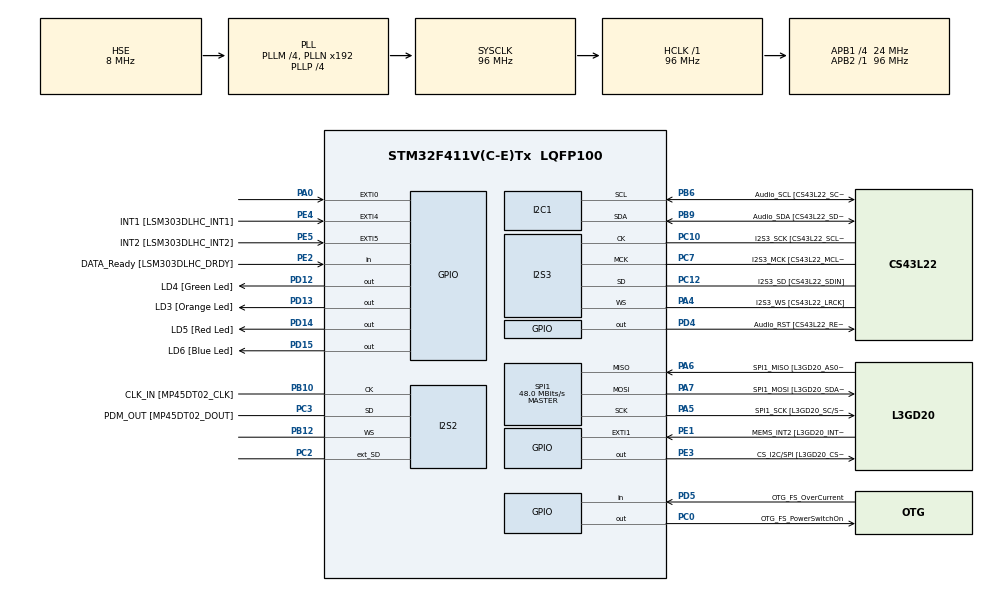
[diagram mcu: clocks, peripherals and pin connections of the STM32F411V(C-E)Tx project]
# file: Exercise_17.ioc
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FREERTOS.BinarySemaphores01=SingleSemaphore,Dynamic,NULL;Synch1Semaphore,Dynamic,NULL;Synch2Semaphore,Dynamic,NULL
FREERTOS.Tasks01=GreenTask,0,128,StartGreenTask,Default,NULL,Dynamic,NULL,NULL;RedTask,0,128,StartRedTask,Default,NULL,Dynamic,NULL,NULL;BlueTask,0,128,StartBlueTask,Default,NULL,Dynamic,NULL,NULL
I2S2.AudioFreq=I2S_AUDIOFREQ_96K
I2S2.ErrorAudioFreq=0.15 %
I2S2.FullDuplexMode=I2S_FULLDUPLEXMODE_ENABLE
I2S2.Instance=SPI$Index
I2S2.RealAudioFreq=96.153 KHz
I2S2.VirtualMode=I2S_MODE_MASTER
I2S3.AudioFreq=I2S_AUDIOFREQ_96K
I2S3.ErrorAudioFreq=-6.99 %
I2S3.FullDuplexMode=I2S_FULLDUPLEXMODE_DISABLE
I2S3.Instance=SPI$Index
I2S3.RealAudioFreq=89.285 KHz
I2S3.VirtualMode=I2S_MODE_MASTER
Mcu.Family=STM32F4
Mcu.Name=STM32F411V(C-E)Tx
Mcu.Package=LQFP100
NVIC.PriorityGroup=NVIC_PRIORITYGROUP_4
NVIC.TIM1_UP_TIM10_IRQn=true\:0\:0\:false\:false\:true\:false\:false\:true
NVIC.TimeBase=TIM1_UP_TIM10_IRQn
NVIC.TimeBaseIP=TIM1
PA0-WKUP.GPIO_ModeDefaultEXTI=GPIO_MODE_EVT_RISING
PA0-WKUP.Signal=GPXTI0
PA10.GPIO_Label=OTG_FS_ID
PA10.Signal=USB_OTG_FS_ID
PA11.GPIO_Label=OTG_FS_DM
PA11.Signal=USB_OTG_FS_DM
PA12.GPIO_Label=OTG_FS_DP
PA12.Signal=USB_OTG_FS_DP
PA13.GPIO_Label=SWDIO
PA13.Mode=Serial_Wire
PA13.Signal=SYS_JTMS-SWDIO
PA14.GPIO_Label=SWCLK
PA14.Mode=Serial_Wire
PA14.Signal=SYS_JTCK-SWCLK
PA4.GPIO_Label=I2S3_WS [CS43L22_LRCK]
PA4.GPIO_Mode=GPIO_MODE_AF_PP
PA4.GPIO_PuPd=GPIO_NOPULL
PA4.GPIO_Speed=GPIO_SPEED_FREQ_LOW
PA4.Mode=Half_Duplex_Master
PA4.Signal=I2S3_WS
PA5.GPIO_Label=SPI1_SCK [L3GD20_SC/SPC]
PA5.Mode=Full_Duplex_Master
PA5.Signal=SPI1_SCK
PA6.GPIO_Label=SPI1_MISO [L3GD20_AS0/SDO]
PA6.Mode=Full_Duplex_Master
PA6.Signal=SPI1_MISO
PA7.GPIO_Label=SPI1_MOSI [L3GD20_SDA/SDI/SDO]
PA7.Mode=Full_Duplex_Master
PA7.Signal=SPI1_MOSI
PA9.GPIO_Label=VBUS_FS
PA9.Signal=USB_OTG_FS_VBUS
PB10.GPIO_Label=CLK_IN [MP45DT02_CLK]
PB10.Mode=Full_Duplex_Master
PB10.Signal=I2S2_CK
PB12.Mode=Full_Duplex_Master
PB12.Signal=I2S2_WS
PB3.GPIO_Label=SWO
PB3.Signal=SYS_JTDO-SWO
PB6.GPIO_Label=Audio_SCL [CS43L22_SCL]
PB6.GPIO_Mode=GPIO_MODE_AF_OD
PB6.GPIO_PuPd=GPIO_NOPULL
PB6.GPIO_Speed=GPIO_SPEED_FREQ_LOW
PB6.Mode=I2C
PB6.Signal=I2C1_SCL
PB9.GPIO_Label=Audio_SDA [CS43L22_SDA]
PB9.GPIO_Mode=GPIO_MODE_AF_OD
PB9.GPIO_PuPd=GPIO_NOPULL
PB9.GPIO_Speed=GPIO_SPEED_FREQ_LOW
PB9.Mode=I2C
PB9.Signal=I2C1_SDA
PC0.GPIO_Label=OTG_FS_PowerSwitchOn
PC0.PinState=GPIO_PIN_SET
PC0.Signal=GPIO_Output
PC10.GPIO_Label=I2S3_SCK [CS43L22_SCLK]
PC10.GPIO_Mode=GPIO_MODE_AF_PP
PC10.GPIO_PuPd=GPIO_NOPULL
PC10.GPIO_Speed=GPIO_SPEED_FREQ_LOW
PC10.Mode=Half_Duplex_Master
PC10.Signal=I2S3_CK
PC12.GPIO_Label=I2S3_SD [CS43L22_SDIN]
PC12.GPIO_Mode=GPIO_MODE_AF_PP
PC12.GPIO_PuPd=GPIO_NOPULL
PC12.GPIO_Speed=GPIO_SPEED_FREQ_LOW
PC12.Mode=Half_Duplex_Master
PC12.Signal=I2S3_SD
PC14-OSC32_IN.GPIO_Label=PC14-OSC32_IN
PC14-OSC32_IN.Mode=LSE-External-Oscillator
PC14-OSC32_IN.Signal=RCC_OSC32_IN
PC15-OSC32_OUT.GPIO_Label=PC15-OSC32_OUT
PC15-OSC32_OUT.Mode=LSE-External-Oscillator
PC15-OSC32_OUT.Signal=RCC_OSC32_OUT
PC2.Mode=Full_Duplex_Master
PC2.Signal=I2S2_ext_SD
PC3.GPIO_Label=PDM_OUT [MP45DT02_DOUT]
PC3.Mode=Full_Duplex_Master
PC3.Signal=I2S2_SD
PC7.GPIO_Label=I2S3_MCK [CS43L22_MCLK]
PC7.GPIO_Mode=GPIO_MODE_AF_PP
PC7.GPIO_PuPd=GPIO_NOPULL
PC7.GPIO_Speed=GPIO_SPEED_FREQ_LOW
PC7.Mode=Master_Clock_Activated
PC7.Signal=I2S3_MCK
PD12.GPIO_Label=LD4 [Green Led]
PD12.GPIO_PuPd=GPIO_NOPULL
PD12.GPIO_Speed=GPIO_SPEED_FREQ_LOW
PD12.Signal=GPIO_Output
PD13.GPIO_Label=LD3 [Orange Led]
PD13.GPIO_PuPd=GPIO_NOPULL
PD13.GPIO_Speed=GPIO_SPEED_FREQ_LOW
PD13.Signal=GPIO_Output
PD14.GPIO_Label=LD5 [Red Led]
PD14.GPIO_PuPd=GPIO_NOPULL
PD14.GPIO_Speed=GPIO_SPEED_FREQ_LOW
PD14.Signal=GPIO_Output
PD15.GPIO_Label=LD6 [Blue Led]
PD15.GPIO_PuPd=GPIO_NOPULL
PD15.GPIO_Speed=GPIO_SPEED_FREQ_LOW
PD15.Signal=GPIO_Output
PD4.GPIO_Label=Audio_RST [CS43L22_RESET]
PD4.Signal=GPIO_Output
PD5.GPIO_Label=OTG_FS_OverCurrent
PD5.Signal=GPIO_Input
PE1.GPIO_Label=MEMS_INT2 [L3GD20_INT2]
PE1.GPIO_ModeDefaultEXTI=GPIO_MODE_EVT_RISING
PE1.Signal=GPXTI1
PE2.GPIO_Label=DATA_Ready [LSM303DLHC_DRDY]
PE2.Signal=GPIO_Input
PE3.GPIO_Label=CS_I2C/SPI [L3GD20_CS_I2C/SPI]
PE3.Signal=GPIO_Output
PE4.GPIO_Label=INT1 [LSM303DLHC_INT1]
PE4.GPIO_ModeDefaultEXTI=GPIO_MODE_EVT_RISING
PE4.Signal=GPXTI4
PE5.GPIO_Label=INT2 [LSM303DLHC_INT2]
PE5.GPIO_ModeDefaultEXTI=GPIO_MODE_EVT_RISING
PE5.Signal=GPXTI5
PH0\ -\ OSC_IN.GPIO_Label=PH0-OSC_IN
PH0\ -\ OSC_IN.Mode=HSE-External-Clock-Source
PH0\ -\ OSC_IN.Signal=RCC_OSC_IN
PH1\ -\ OSC_OUT.GPIO_Label=PH1-OSC_OUT
PH1\ -\ OSC_OUT.Mode=HSE-External-Clock-Source
PH1\ -\ OSC_OUT.Signal=RCC_OSC_OUT
ProjectManager.HeapSize=0x200
ProjectManager.StackSize=0x400
ProjectManager.TargetToolchain=STM32CubeIDE
RCC.48MHZClocksFreq_Value=48000000
RCC.AHBFreq_Value=96000000
RCC.APB1CLKDivider=RCC_HCLK_DIV4
RCC.APB1Freq_Value=24000000
RCC.APB1TimFreq_Value=48000000
RCC.APB2Freq_Value=96000000
RCC.APB2TimFreq_Value=96000000
RCC.CortexFreq_Value=96000000
RCC.HCLKFreq_Value=96000000
RCC.HSE_VALUE=8000000
RCC.HSI_VALUE=16000000
RCC.PLLI2SM=5
RCC.PLLI2SN=200
RCC.PLLM=4
RCC.PLLP=RCC_PLLP_DIV4
RCC.PLLQ=8
RCC.PLLSourceVirtual=RCC_PLLSOURCE_HSE
RCC.SYSCLKFreq_VALUE=96000000
RCC.SYSCLKSource=RCC_SYSCLKSOURCE_PLLCLK
RCC.VCOOutputFreq_Value=384000000
SPI1.BaudRatePrescaler=SPI_BAUDRATEPRESCALER_2
SPI1.CalculateBaudRate=48.0 MBits/s
SPI1.Direction=SPI_DIRECTION_2LINES
SPI1.Mode=SPI_MODE_MASTER
SPI1.VirtualType=VM_MASTER
VP_FREERTOS_VS_CMSIS_V1.Mode=CMSIS_V1
VP_SYS_VS_tim1.Mode=TIM1
board=STM32F411E-DISCO

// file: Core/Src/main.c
/* USER CODE BEGIN Header */
/**
  ******************************************************************************
  * @file           : main.c
  * @brief          : Main program body
  ******************************************************************************
  * @attention
  *
  * <h2><center>&copy; Copyright (c) 2023 STMicroelectronics.
  * All rights reserved.</center></h2>
  *
  * This software component is licensed by ST under Ultimate Liberty license
  * SLA0044, the "License"; You may not use this file except in compliance with
  * the License. You may obtain a copy of the License at:
  *                             www.st.com/SLA0044
  *
  ******************************************************************************
  */
/* USER CODE END Header */

#include "main.h"
#include "cmsis_os.h"

/* USER CODE BEGIN PD */
#define green GPIO_PIN_12
#define orange GPIO_PIN_13
#define red GPIO_PIN_14
#define blue GPIO_PIN_15
/* USER CODE END PD */

I2C_HandleTypeDef hi2c1;

I2S_HandleTypeDef hi2s2;
I2S_HandleTypeDef hi2s3;

SPI_HandleTypeDef hspi1;

osThreadId GreenTaskHandle;
osThreadId RedTaskHandle;
osThreadId BlueTaskHandle;
osSemaphoreId SingleSemaphoreHandle;
osSemaphoreId Synch1SemaphoreHandle;
osSemaphoreId Synch2SemaphoreHandle;
/* USER CODE BEGIN PV */
int TaskCount = 1;
/* USER CODE END PV */

void SystemClock_Config(void);
static void MX_GPIO_Init(void);
static void MX_I2C1_Init(void);
static void MX_I2S2_Init(void);
static void MX_I2S3_Init(void);
static void MX_SPI1_Init(void);
void StartGreenTask(void const * argument);
void StartRedTask(void const * argument);
void StartBlueTask(void const * argument);

int main(void)
{

  /* MCU Configuration--------------------------------------------------------*/

  /* Reset of all peripherals, Initializes the Flash interface and the Systick. */
  HAL_Init();

  /* Configure the system clock */
  SystemClock_Config();

  /* Initialize all configured peripherals */
  MX_GPIO_Init();
  MX_I2C1_Init();
  MX_I2S2_Init();
  MX_I2S3_Init();
  MX_SPI1_Init();

  /* Create the semaphores(s) */
  /* definition and creation of SingleSemaphore */
  osSemaphoreDef(SingleSemaphore);
  SingleSemaphoreHandle = osSemaphoreCreate(osSemaphore(SingleSemaphore), 1);

  /* definition and creation of Synch1Semaphore */
  osSemaphoreDef(Synch1Semaphore);
  Synch1SemaphoreHandle = osSemaphoreCreate(osSemaphore(Synch1Semaphore), 1);

  /* definition and creation of Synch2Semaphore */
  osSemaphoreDef(Synch2Semaphore);
  Synch2SemaphoreHandle = osSemaphoreCreate(osSemaphore(Synch2Semaphore), 1);

  /* USER CODE BEGIN RTOS_SEMAPHORES */
  osSemaphoreWait(SingleSemaphoreHandle,0);
  osSemaphoreWait(Synch1SemaphoreHandle,0);
  osSemaphoreWait(Synch2SemaphoreHandle,0);
  /* USER CODE END RTOS_SEMAPHORES */

  /* Create the thread(s) */
  /* definition and creation of GreenTask */
  osThreadDef(GreenTask, StartGreenTask, osPriorityNormal, 0, 128);
  GreenTaskHandle = osThreadCreate(osThread(GreenTask), NULL);

  /* definition and creation of RedTask */
  osThreadDef(RedTask, StartRedTask, osPriorityNormal, 0, 128);
  RedTaskHandle = osThreadCreate(osThread(RedTask), NULL);

  /* definition and creation of BlueTask */
  osThreadDef(BlueTask, StartBlueTask, osPriorityNormal, 0, 128);
  BlueTaskHandle = osThreadCreate(osThread(BlueTask), NULL);

  /* Start scheduler */
  osKernelStart();

  /* We should never get here as control is now taken by the scheduler */

  /* Infinite loop */
  while (1)
  {

  }
}

void SystemClock_Config(void)
{
  RCC_OscInitTypeDef RCC_OscInitStruct = {0};
  RCC_ClkInitTypeDef RCC_ClkInitStruct = {0};
  RCC_PeriphCLKInitTypeDef PeriphClkInitStruct = {0};

  /** Configure the main internal regulator output voltage
  */
  __HAL_RCC_PWR_CLK_ENABLE();
  __HAL_PWR_VOLTAGESCALING_CONFIG(PWR_REGULATOR_VOLTAGE_SCALE1);
  /** Initializes the CPU, AHB and APB busses clocks
  */
  RCC_OscInitStruct.OscillatorType = RCC_OSCILLATORTYPE_HSE;
  RCC_OscInitStruct.HSEState = RCC_HSE_BYPASS;
  RCC_OscInitStruct.PLL.PLLState = RCC_PLL_ON;
  RCC_OscInitStruct.PLL.PLLSource = RCC_PLLSOURCE_HSE;
  RCC_OscInitStruct.PLL.PLLM = 4;
  RCC_OscInitStruct.PLL.PLLN = 192;
  RCC_OscInitStruct.PLL.PLLP = RCC_PLLP_DIV4;
  RCC_OscInitStruct.PLL.PLLQ = 8;
  if (HAL_RCC_OscConfig(&RCC_OscInitStruct) != HAL_OK)
  {
    Error_Handler();
  }
  /** Initializes the CPU, AHB and APB busses clocks
  */
  RCC_ClkInitStruct.ClockType = RCC_CLOCKTYPE_HCLK|RCC_CLOCKTYPE_SYSCLK
                              |RCC_CLOCKTYPE_PCLK1|RCC_CLOCKTYPE_PCLK2;
  RCC_ClkInitStruct.SYSCLKSource = RCC_SYSCLKSOURCE_PLLCLK;
  RCC_ClkInitStruct.AHBCLKDivider = RCC_SYSCLK_DIV1;
  RCC_ClkInitStruct.APB1CLKDivider = RCC_HCLK_DIV4;
  RCC_ClkInitStruct.APB2CLKDivider = RCC_HCLK_DIV1;

  if (HAL_RCC_ClockConfig(&RCC_ClkInitStruct, FLASH_LATENCY_3) != HAL_OK)
  {
    Error_Handler();
  }
  PeriphClkInitStruct.PeriphClockSelection = RCC_PERIPHCLK_I2S;
  PeriphClkInitStruct.PLLI2S.PLLI2SN = 200;
  PeriphClkInitStruct.PLLI2S.PLLI2SM = 5;
  PeriphClkInitStruct.PLLI2S.PLLI2SR = 2;
  if (HAL_RCCEx_PeriphCLKConfig(&PeriphClkInitStruct) != HAL_OK)
  {
    Error_Handler();
  }
}

static void MX_I2C1_Init(void)
{

  hi2c1.Instance = I2C1;
  hi2c1.Init.ClockSpeed = 100000;
  hi2c1.Init.DutyCycle = I2C_DUTYCYCLE_2;
  hi2c1.Init.OwnAddress1 = 0;
  hi2c1.Init.AddressingMode = I2C_ADDRESSINGMODE_7BIT;
  hi2c1.Init.DualAddressMode = I2C_DUALADDRESS_DISABLE;
  hi2c1.Init.OwnAddress2 = 0;
  hi2c1.Init.GeneralCallMode = I2C_GENERALCALL_DISABLE;
  hi2c1.Init.NoStretchMode = I2C_NOSTRETCH_DISABLE;
  if (HAL_I2C_Init(&hi2c1) != HAL_OK)
  {
    Error_Handler();
  }

}

static void MX_I2S2_Init(void)
{

  hi2s2.Instance = SPI2;
  hi2s2.Init.Mode = I2S_MODE_MASTER_TX;
  hi2s2.Init.Standard = I2S_STANDARD_PHILIPS;
  hi2s2.Init.DataFormat = I2S_DATAFORMAT_16B;
  hi2s2.Init.MCLKOutput = I2S_MCLKOUTPUT_DISABLE;
  hi2s2.Init.AudioFreq = I2S_AUDIOFREQ_96K;
  hi2s2.Init.CPOL = I2S_CPOL_LOW;
  hi2s2.Init.ClockSource = I2S_CLOCK_PLL;
  hi2s2.Init.FullDuplexMode = I2S_FULLDUPLEXMODE_ENABLE;
  if (HAL_I2S_Init(&hi2s2) != HAL_OK)
  {
    Error_Handler();
  }

}

static void MX_I2S3_Init(void)
{

  hi2s3.Instance = SPI3;
  hi2s3.Init.Mode = I2S_MODE_MASTER_TX;
  hi2s3.Init.Standard = I2S_STANDARD_PHILIPS;
  hi2s3.Init.DataFormat = I2S_DATAFORMAT_16B;
  hi2s3.Init.MCLKOutput = I2S_MCLKOUTPUT_ENABLE;
  hi2s3.Init.AudioFreq = I2S_AUDIOFREQ_96K;
  hi2s3.Init.CPOL = I2S_CPOL_LOW;
  hi2s3.Init.ClockSource = I2S_CLOCK_PLL;
  hi2s3.Init.FullDuplexMode = I2S_FULLDUPLEXMODE_DISABLE;
  if (HAL_I2S_Init(&hi2s3) != HAL_OK)
  {
    Error_Handler();
  }

}

static void MX_SPI1_Init(void)
{

  /* SPI1 parameter configuration*/
  hspi1.Instance = SPI1;
  hspi1.Init.Mode = SPI_MODE_MASTER;
  hspi1.Init.Direction = SPI_DIRECTION_2LINES;
  hspi1.Init.DataSize = SPI_DATASIZE_8BIT;
  hspi1.Init.CLKPolarity = SPI_POLARITY_LOW;
  hspi1.Init.CLKPhase = SPI_PHASE_1EDGE;
  hspi1.Init.NSS = SPI_NSS_SOFT;
  hspi1.Init.BaudRatePrescaler = SPI_BAUDRATEPRESCALER_2;
  hspi1.Init.FirstBit = SPI_FIRSTBIT_MSB;
  hspi1.Init.TIMode = SPI_TIMODE_DISABLE;
  hspi1.Init.CRCCalculation = SPI_CRCCALCULATION_DISABLE;
  hspi1.Init.CRCPolynomial = 10;
  if (HAL_SPI_Init(&hspi1) != HAL_OK)
  {
    Error_Handler();
  }

}

static void MX_GPIO_Init(void)
{
  GPIO_InitTypeDef GPIO_InitStruct = {0};

  /* GPIO Ports Clock Enable */
  __HAL_RCC_GPIOE_CLK_ENABLE();
  __HAL_RCC_GPIOC_CLK_ENABLE();
  __HAL_RCC_GPIOH_CLK_ENABLE();
  __HAL_RCC_GPIOA_CLK_ENABLE();
  __HAL_RCC_GPIOB_CLK_ENABLE();
  __HAL_RCC_GPIOD_CLK_ENABLE();

  /*Configure GPIO pin Output Level */
  HAL_GPIO_WritePin(CS_I2C_SPI_GPIO_Port, CS_I2C_SPI_Pin, GPIO_PIN_RESET);

  /*Configure GPIO pin Output Level */
  HAL_GPIO_WritePin(OTG_FS_PowerSwitchOn_GPIO_Port, OTG_FS_PowerSwitchOn_Pin, GPIO_PIN_SET);

  /*Configure GPIO pin Output Level */
  HAL_GPIO_WritePin(GPIOD, LD4_Pin|LD3_Pin|LD5_Pin|LD6_Pin
                          |Audio_RST_Pin, GPIO_PIN_RESET);

  /*Configure GPIO pin : DATA_Ready_Pin */
  GPIO_InitStruct.Pin = DATA_Ready_Pin;
  GPIO_InitStruct.Mode = GPIO_MODE_INPUT;
  GPIO_InitStruct.Pull = GPIO_NOPULL;
  HAL_GPIO_Init(DATA_Ready_GPIO_Port, &GPIO_InitStruct);

  /*Configure GPIO pin : CS_I2C_SPI_Pin */
  GPIO_InitStruct.Pin = CS_I2C_SPI_Pin;
  GPIO_InitStruct.Mode = GPIO_MODE_OUTPUT_PP;
  GPIO_InitStruct.Pull = GPIO_NOPULL;
  GPIO_InitStruct.Speed = GPIO_SPEED_FREQ_LOW;
  HAL_GPIO_Init(CS_I2C_SPI_GPIO_Port, &GPIO_InitStruct);

  /*Configure GPIO pins : INT1_Pin INT2_Pin MEMS_INT2_Pin */
  GPIO_InitStruct.Pin = INT1_Pin|INT2_Pin|MEMS_INT2_Pin;
  GPIO_InitStruct.Mode = GPIO_MODE_EVT_RISING;
  GPIO_InitStruct.Pull = GPIO_NOPULL;
  HAL_GPIO_Init(GPIOE, &GPIO_InitStruct);

  /*Configure GPIO pin : OTG_FS_PowerSwitchOn_Pin */
  GPIO_InitStruct.Pin = OTG_FS_PowerSwitchOn_Pin;
  GPIO_InitStruct.Mode = GPIO_MODE_OUTPUT_PP;
  GPIO_InitStruct.Pull = GPIO_NOPULL;
  GPIO_InitStruct.Speed = GPIO_SPEED_FREQ_LOW;
  HAL_GPIO_Init(OTG_FS_PowerSwitchOn_GPIO_Port, &GPIO_InitStruct);

  /*Configure GPIO pin : PA0 */
  GPIO_InitStruct.Pin = GPIO_PIN_0;
  GPIO_InitStruct.Mode = GPIO_MODE_EVT_RISING;
  GPIO_InitStruct.Pull = GPIO_NOPULL;
  HAL_GPIO_Init(GPIOA, &GPIO_InitStruct);

  /*Configure GPIO pins : LD4_Pin LD3_Pin LD5_Pin LD6_Pin
                           Audio_RST_Pin */
  GPIO_InitStruct.Pin = LD4_Pin|LD3_Pin|LD5_Pin|LD6_Pin
                          |Audio_RST_Pin;
  GPIO_InitStruct.Mode = GPIO_MODE_OUTPUT_PP;
  GPIO_InitStruct.Pull = GPIO_NOPULL;
  GPIO_InitStruct.Speed = GPIO_SPEED_FREQ_LOW;
  HAL_GPIO_Init(GPIOD, &GPIO_InitStruct);

  /*Configure GPIO pin : VBUS_FS_Pin */
  GPIO_InitStruct.Pin = VBUS_FS_Pin;
  GPIO_InitStruct.Mode = GPIO_MODE_INPUT;
  GPIO_InitStruct.Pull = GPIO_NOPULL;
  HAL_GPIO_Init(VBUS_FS_GPIO_Port, &GPIO_InitStruct);

  /*Configure GPIO pins : OTG_FS_ID_Pin OTG_FS_DM_Pin OTG_FS_DP_Pin */
  GPIO_InitStruct.Pin = OTG_FS_ID_Pin|OTG_FS_DM_Pin|OTG_FS_DP_Pin;
  GPIO_InitStruct.Mode = GPIO_MODE_AF_PP;
  GPIO_InitStruct.Pull = GPIO_NOPULL;
  GPIO_InitStruct.Speed = GPIO_SPEED_FREQ_VERY_HIGH;
  GPIO_InitStruct.Alternate = GPIO_AF10_OTG_FS;
  HAL_GPIO_Init(GPIOA, &GPIO_InitStruct);

  /*Configure GPIO pin : OTG_FS_OverCurrent_Pin */
  GPIO_InitStruct.Pin = OTG_FS_OverCurrent_Pin;
  GPIO_InitStruct.Mode = GPIO_MODE_INPUT;
  GPIO_InitStruct.Pull = GPIO_NOPULL;
  HAL_GPIO_Init(OTG_FS_OverCurrent_GPIO_Port, &GPIO_InitStruct);

}

/* USER CODE BEGIN 4 */
void RendezvousBarrierS(const int N)
{
	if (TaskCount < N)
	{
		TaskCount++;
		osSemaphoreWait(SingleSemaphoreHandle, osWaitForever);
	}
	else if (TaskCount == N)
	{
		for (int i = 0; i < N; i++)
		{
			osSemaphoreRelease(SingleSemaphoreHandle);
			osDelay(10);
		}
	    TaskCount = 1;
	}
	else
		HAL_GPIO_WritePin(GPIOD, orange, GPIO_PIN_SET);
}

void RendezvousBarrierM()
{
	switch(TaskCount)
	{
		case 1: TaskCount++;
				osSemaphoreWait(Synch1SemaphoreHandle, osWaitForever);
				break;

		case 2: TaskCount++;
				osSemaphoreWait(Synch2SemaphoreHandle, osWaitForever);
				break;

		case 3: osSemaphoreRelease(Synch1SemaphoreHandle);
				osSemaphoreRelease(Synch2SemaphoreHandle);
				TaskCount = 1;
	}
}
/* USER CODE END 4 */

void StartGreenTask(void const * argument)
{
  /* USER CODE BEGIN 5 */
  /* Infinite loop */
  for(;;)
  {
	  for(int i = 0; i <= 120; i++) // Flash green led for 5 sec @ 10 Hz
	  	{
	  		HAL_GPIO_WritePin(GPIOD, green, GPIO_PIN_SET);
	  		osDelay(50);
	  		HAL_GPIO_WritePin(GPIOD, green, GPIO_PIN_RESET);
	  		osDelay(50);
	  	}

	  RendezvousBarrierS(3);
	  //RendezvousBarrierM;

	  for(int i = 0; i <= 20; i++) // Flash green led for 20 sec @ 1 Hz
	  	{
	  		HAL_GPIO_WritePin(GPIOD, green, GPIO_PIN_SET);
	  		osDelay(500);
	  		HAL_GPIO_WritePin(GPIOD, green, GPIO_PIN_RESET);
	  		osDelay(500);
	  	}

	  RendezvousBarrierS(3);
	  //RendezvousBarrierM;

	  for(int i = 0; i <= 40; i++) // Flash green led for 8 sec @ 5 Hz
		{
			HAL_GPIO_WritePin(GPIOD, green, GPIO_PIN_SET);
			osDelay(100);
			HAL_GPIO_WritePin(GPIOD, green, GPIO_PIN_RESET);
			osDelay(100);
		}

	  RendezvousBarrierS(3);
	  //RendezvousBarrierM;
   }
  /* USER CODE END 5 */
}

void StartRedTask(void const * argument)
{
  /* USER CODE BEGIN StartRedTask */
  /* Infinite loop */
  for(;;)
  {
	  for(int i = 0; i <= 200; i++) // Flash green led for 10 sec @ 10 Hz
	  	{
	  		HAL_GPIO_WritePin(GPIOD, red, GPIO_PIN_SET);
	  		osDelay(50);
	  		HAL_GPIO_WritePin(GPIOD, red, GPIO_PIN_RESET);
	  		osDelay(50);
	  	}

	  RendezvousBarrierS(3);
	  //RendezvousBarrierM;

	  for(int i = 0; i <= 8; i++) // Flash green led for 8 sec @ 1 Hz
	  	{
	  		HAL_GPIO_WritePin(GPIOD, red, GPIO_PIN_SET);
	  		osDelay(500);
	  		HAL_GPIO_WritePin(GPIOD, red, GPIO_PIN_RESET);
	  		osDelay(500);
	  	}

	  RendezvousBarrierS(3);
	  //RendezvousBarrierM;

	  for(int i = 0; i <= 100; i++) // Flash green led for 8 sec @ 5 Hz
		{
			HAL_GPIO_WritePin(GPIOD, red, GPIO_PIN_SET);
			osDelay(100);
			HAL_GPIO_WritePin(GPIOD, red, GPIO_PIN_RESET);
			osDelay(100);
		}

	  RendezvousBarrierS(3);
	  //RendezvousBarrierM;
  }
  /* USER CODE END StartRedTask */
}

void StartBlueTask(void const * argument)
{
  /* USER CODE BEGIN StartBlueTask */
  /* Infinite loop */
  for(;;)
  {
	  for(int i = 0; i <= 80; i++) // Flash green led for 8 sec @ 10 Hz
	  	{
	  		HAL_GPIO_WritePin(GPIOD, blue, GPIO_PIN_SET);
	  		osDelay(50);
	  		HAL_GPIO_WritePin(GPIOD, blue, GPIO_PIN_RESET);
	  		osDelay(50);
	  	}

	  RendezvousBarrierS(3);
	  //RendezvousBarrierM;

	  for(int i = 0; i <= 12; i++) // Flash green led for 12 sec @ 1 Hz
	  	{
	  		HAL_GPIO_WritePin(GPIOD, blue, GPIO_PIN_SET);
	  		osDelay(500);
	  		HAL_GPIO_WritePin(GPIOD, blue, GPIO_PIN_RESET);
	  		osDelay(500);
	  	}

	  RendezvousBarrierS(3);
	  //RendezvousBarrierM;

	  for(int i = 0; i <= 60; i++) // Flash green led for 12 sec @ 5 Hz
		{
			HAL_GPIO_WritePin(GPIOD, blue, GPIO_PIN_SET);
			osDelay(100);
			HAL_GPIO_WritePin(GPIOD, blue, GPIO_PIN_RESET);
			osDelay(100);
		}

	  RendezvousBarrierS(3);
	  //RendezvousBarrierM;
  }
  /* USER CODE END StartBlueTask */
}

void HAL_TIM_PeriodElapsedCallback(TIM_HandleTypeDef *htim)
{
  if (htim->Instance == TIM1) {
    HAL_IncTick();
  }
}

void Error_Handler(void)
{
}

/************************ (C) COPYRIGHT STMicroelectronics *****END OF FILE****/
